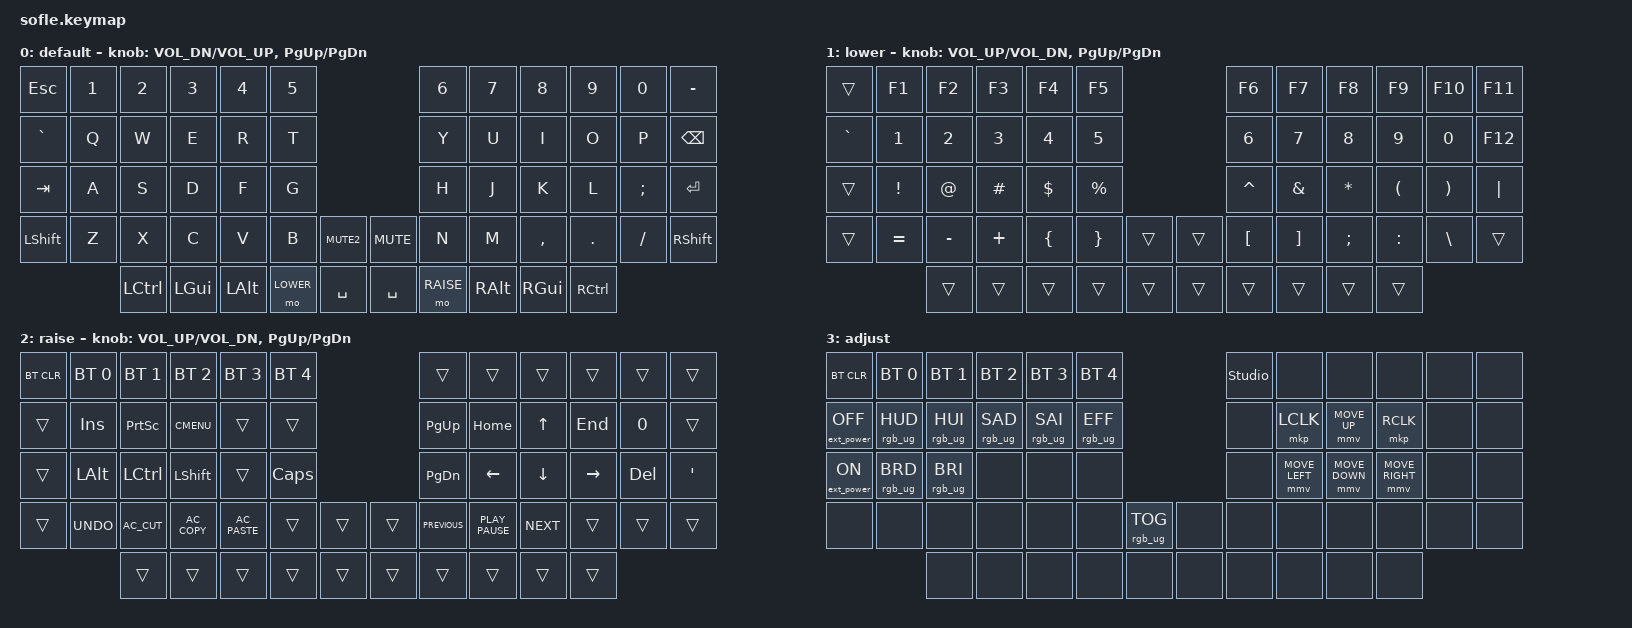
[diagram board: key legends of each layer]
/*
 * Copyright (c) 2020 The ZMK Contributors
 *
 * SPDX-License-Identifier: MIT
 */

#include <behaviors.dtsi>
#include <dt-bindings/zmk/bt.h>
#include <dt-bindings/zmk/ext_power.h>
#include <dt-bindings/zmk/keys.h>
#include <dt-bindings/zmk/pointing.h>
#include <dt-bindings/zmk/rgb.h>

#define BASE 0
#define LOWER 1
#define RAISE 2
#define ADJUST 3

/ {
    // Activate ADJUST layer by pressing raise and lower

    conditional_layers {
        compatible = "zmk,conditional-layers";

        adjust_layer {
            if-layers = <LOWER RAISE>;
            then-layer = <ADJUST>;
        };
    };

    combos {
        compatible = "zmk,combos";

        calc {
            bindings = <&kp K_CALC>;
            key-positions = <21 33>;
        };

        copy {
            bindings = <&kp K_COPY>;
            key-positions = <39 27>;
        };

        paste {
            bindings = <&kp K_PASTE>;
            key-positions = <28 40>;
        };

        print {
            bindings = <&kp PRINTSCREEN>;
            key-positions = <16 28>;
        };
    };

    keymap {
        compatible = "zmk,keymap";

        default_layer {
            display-name = "default";

            // ------------------------------------------------------------------------------------------------------------
            // |   `   |  1  |  2  |  3   |  4   |  5   |                   |  6   |  7    |  8    |  9   |   0   |       |
            // |  ESC  |  Q  |  W  |  E   |  R   |  T   |                   |  Y   |  U    |  I    |  O   |   P   | BKSPC |
            // |  TAB  |  A  |  S  |  D   |  F   |  G   |                   |  H   |  J    |  K    |  L   |   ;   |   '   |
            // | SHIFT |  Z  |  X  |  C   |  V   |  B   |  MUTE  |  |       |  N   |  M    |  ,    |  .   |   /   | SHIFT |
            //               | GUI | ALT  | CTRL | LOWER|  ENTER |  | SPACE | RAISE| CTRL  | ALT   | GUI  |

            bindings = <
&kp ESCAPE  &kp N1  &kp N2            &kp N3    &kp N4        &kp N5                                &kp N6     &kp N7         &kp N8     &kp N9             &kp N0    &kp MINUS
&kp GRAVE   &kp Q   &kp W             &kp E     &kp R         &kp T                                 &kp Y      &kp U          &kp I      &kp O              &kp P     &kp BSPC
&kp TAB     &kp A   &kp S             &kp D     &kp F         &kp G                                 &kp H      &kp J          &kp K      &kp L              &kp SEMI  &kp ENTER
&kp LSHFT   &kp Z   &kp X             &kp C     &kp V         &kp B      &kp K_MUTE2    &kp K_MUTE  &kp N      &kp M          &kp COMMA  &kp DOT            &kp FSLH  &kp RSHFT
                    &kp LEFT_CONTROL  &kp LGUI  &kp LEFT_ALT  &mo LOWER  &kp SPACE      &kp SPACE   &mo RAISE  &kp RIGHT_ALT  &kp RGUI   &kp RIGHT_CONTROL
            >;

            sensor-bindings =
                <&inc_dec_kp C_VOL_DN C_VOL_UP>,
                <&inc_dec_kp PAGE_UP PAGE_DOWN>;
        };

        lower_layer {
            display-name = "lower";

            // TODO: Some binds are waiting for shifted keycode support.
            // ------------------------------------------------------------------------------------------------------------
            // |       |  F1 |  F2 |  F3  |  F4  |  F5  |                   |  F6  |  F7   |  F8   |  F9  |  F10  |  F11  |
            // |   `   |  1  |  2  |  3   |  4   |  5   |                   |  6   |  7    |  8    |  9   |   0   |  F12  |
            // |       |  !  |  @  |  #   |  $   |  %   |                   |  ^   |  &    |  *    |  (   |   )   |   |   |
            // |       |  =  |  -  |  +   |  {   |  }   |        |  |       |  [   |  ]    |  ;    |  :   |   \   |       |
            //               |     |      |      |      |        |  |       |      |       |       |      |

            bindings = <
&trans     &kp F1     &kp F2     &kp F3    &kp F4    &kp F5                       &kp F6     &kp F7    &kp F8     &kp F9     &kp F10   &kp F11
&kp GRAVE  &kp N1     &kp N2     &kp N3    &kp N4    &kp N5                       &kp N6     &kp N7    &kp N8     &kp N9     &kp N0    &kp F12
&trans     &kp EXCL   &kp AT     &kp HASH  &kp DLLR  &kp PRCNT                    &kp CARET  &kp AMPS  &kp ASTRK  &kp LPAR   &kp RPAR  &kp PIPE
&trans     &kp EQUAL  &kp MINUS  &kp PLUS  &kp LBRC  &kp RBRC   &trans    &trans  &kp LBKT   &kp RBKT  &kp SEMI   &kp COLON  &kp BSLH  &trans
                      &trans     &trans    &trans    &trans     &trans    &trans  &trans     &trans    &trans     &trans
            >;

            sensor-bindings = <&inc_dec_kp C_VOL_UP C_VOL_DN &inc_dec_kp PG_UP PG_DN>;
        };

        raise_layer {
            display-name = "raise";

            // ------------------------------------------------------------------------------------------------------------
            // | BTCLR | BT1  | BT2  |  BT3  |  BT4  |  BT5 |                |      |      |       |      |       |       |
            // |       | INS  | PSCR | GUI   |       |      |                | PGUP |      |   ^   |      |       |       |
            // |       | ALT  | CTRL | SHIFT |       | CAPS |                | PGDN |   <- |   v   |  ->  |  DEL  | BKSPC |
            // |       | UNDO | CUT  | COPY  | PASTE |      |      |  |      |      |      |       |      |       |       |
            //                |      |       |       |      |      |  |      |      |      |       |      |

            bindings = <
&bt BT_CLR  &bt BT_SEL 0  &bt BT_SEL 1  &bt BT_SEL 2   &bt BT_SEL 3    &bt BT_SEL 4                    &trans          &trans            &trans      &trans     &trans   &trans
&trans      &kp INS       &kp PSCRN     &kp K_CMENU    &trans          &trans                          &kp PG_UP       &kp HOME          &kp UP      &kp END    &kp N0   &trans
&trans      &kp LALT      &kp LCTRL     &kp LSHFT      &trans          &kp CLCK                        &kp PG_DN       &kp LEFT          &kp DOWN    &kp RIGHT  &kp DEL  &kp SQT
&trans      &kp K_UNDO    &kp C_AC_CUT  &kp C_AC_COPY  &kp C_AC_PASTE  &trans        &trans    &trans  &kp K_PREVIOUS  &kp K_PLAY_PAUSE  &kp K_NEXT  &trans     &trans   &trans
                          &trans        &trans         &trans          &trans        &trans    &trans  &trans          &trans            &trans      &trans
            >;

            sensor-bindings = <&inc_dec_kp C_VOL_UP C_VOL_DN &inc_dec_kp PG_UP PG_DN>;
        };

        adjust_layer {
            // ----------------------------------------------------------------------------------------------------------------------------
            // | BTCLR  |  BT1    |  BT2    |   BT3   |   BT4   |   BT5   |                  |      |      |       |      |       |       |
            // | EXTPWR | RGB_HUD | RGB_HUI | RGB_SAD | RGB_SAI | RGB_EFF |                  |      |      |       |      |       |       |
            // |        | RGB_BRD | RGB_BRI |         |         |         |                  |      |      |       |      |       |       |
            // |        |         |         |         |         |         | RGB_TOG | |      |      |      |       |      |       |       |
            //                    |         |         |         |         |         | |      |      |      |       |      |

            display-name = "adjust";
            bindings = <
&bt BT_CLR         &bt BT_SEL 0     &bt BT_SEL 1     &bt BT_SEL 2     &bt BT_SEL 3     &bt BT_SEL 4                               &studio_unlock  &none           &none           &none            &none  &none
&ext_power EP_OFF  &rgb_ug RGB_HUD  &rgb_ug RGB_HUI  &rgb_ug RGB_SAD  &rgb_ug RGB_SAI  &rgb_ug RGB_EFF                            &none           &mkp LCLK       &mmv MOVE_UP    &mkp RCLK        &none  &none
&ext_power EP_ON   &rgb_ug RGB_BRD  &rgb_ug RGB_BRI  &none            &none            &none                                      &none           &mmv MOVE_LEFT  &mmv MOVE_DOWN  &mmv MOVE_RIGHT  &none  &none
&none              &none            &none            &none            &none            &none            &rgb_ug RGB_TOG    &none  &none           &none           &none           &none            &none  &none
                                    &none            &none            &none            &none            &none              &none  &none           &none           &none           &none
            >;
        };
    };
};
